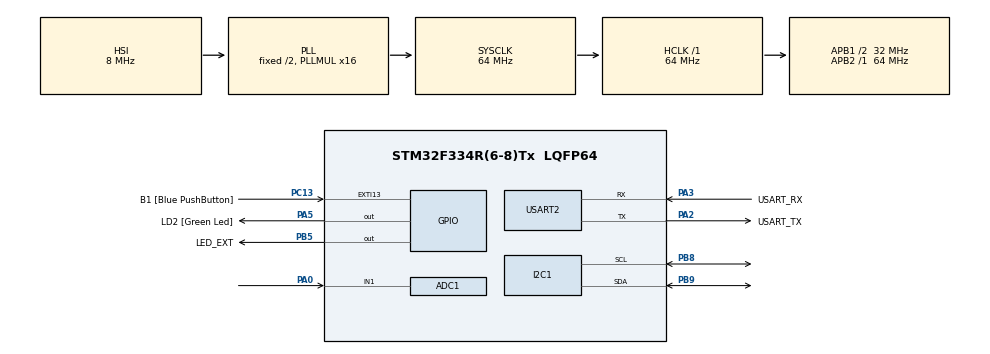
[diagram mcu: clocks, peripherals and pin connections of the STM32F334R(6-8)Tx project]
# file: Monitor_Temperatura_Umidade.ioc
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ADC1.Channel-0\#ChannelRegularConversion=ADC_CHANNEL_1
ADC1.NbrOfConversionFlag=1
ADC1.Offset-0\#ChannelRegularConversion=0
ADC1.OffsetNumber-0\#ChannelRegularConversion=ADC_OFFSET_NONE
ADC1.Rank-0\#ChannelRegularConversion=1
ADC1.SamplingTime-0\#ChannelRegularConversion=ADC_SAMPLETIME_1CYCLE_5
ADC1.SamplingTimeOPAMP-0\#ChannelRegularConversion=ADC_SAMPLETIME_61CYCLES_5
ADC1.SubFamily=STM32F334x8
ADC1.master=1
I2C1.Timing=0x00201D2B
Mcu.Family=STM32F3
Mcu.Name=STM32F334R(6-8)Tx
Mcu.Package=LQFP64
NVIC.PriorityGroup=NVIC_PRIORITYGROUP_0
NVIC.TIM6_DAC1_IRQn=true\:0\:0\:false\:false\:true\:true\:true\:true
PA0.Mode=IN1-Single-Ended
PA0.Signal=ADC1_IN1
PA13.GPIO_Label=TMS
PA13.Mode=Serial_Wire
PA13.Signal=SYS_JTMS-SWDIO
PA14.GPIO_Label=TCK
PA14.Mode=Serial_Wire
PA14.Signal=SYS_JTCK-SWCLK
PA2.GPIO_Label=USART_TX
PA2.Mode=Asynchronous
PA2.Signal=USART2_TX
PA3.GPIO_Label=USART_RX
PA3.Mode=Asynchronous
PA3.Signal=USART2_RX
PA5.GPIO_Label=LD2 [Green Led]
PA5.Signal=GPIO_Output
PB3.GPIO_Label=SWO
PB3.Signal=SYS_JTDO-TRACESWO
PB5.GPIO_Label=LED_EXT
PB5.Signal=GPIO_Output
PB8.GPIO_Pu=GPIO_PULLUP
PB8.Mode=I2C
PB8.Signal=I2C1_SCL
PB9.GPIO_Pu=GPIO_PULLUP
PB9.Mode=I2C
PB9.Signal=I2C1_SDA
PC13.GPIO_Label=B1 [Blue PushButton]
PC13.GPIO_ModeDefaultEXTI=GPIO_MODE_IT_FALLING
PC13.Signal=GPXTI13
PC14\ /\ OSC32_IN.Mode=LSE-External-Oscillator
PC14\ /\ OSC32_IN.Signal=RCC_OSC32_IN
PC15\ /\ OSC32_OUT.GPIO_Label=RCC_OSC32_OUT
PC15\ /\ OSC32_OUT.Mode=LSE-External-Oscillator
PC15\ /\ OSC32_OUT.Signal=RCC_OSC32_OUT
PF0\ /\ OSC_IN.Mode=HSE-External-Clock-Source
PF0\ /\ OSC_IN.Signal=RCC_OSC_IN
PF1\ /\ OSC_OUT.Signal=RCC_OSC_OUT
ProjectManager.HeapSize=0x200
ProjectManager.StackSize=0x400
ProjectManager.TargetToolchain=CMake
RCC.AHBFreq_Value=64000000
RCC.APB1CLKDivider=RCC_HCLK_DIV2
RCC.APB1Freq_Value=32000000
RCC.APB1TimFreq_Value=64000000
RCC.APB2Freq_Value=64000000
RCC.APB2TimFreq_Value=64000000
RCC.CortexFreq_Value=64000000
RCC.FLatency-AdvancedSettings=FLASH_LATENCY_2
RCC.HCLKFreq_Value=64000000
RCC.HSE_VALUE=8000000
RCC.HSI_VALUE=8000000
RCC.PLLMUL=RCC_PLL_MUL16
RCC.SYSCLKFreq_VALUE=64000000
RCC.SYSCLKSourceVirtual=RCC_SYSCLKSOURCE_PLLCLK
TIM6.Period=999
TIM6.Prescaler=63999
USART2.VirtualMode-Asynchronous=VM_ASYNC
VP_TIM6_VS_ClockSourceINT.Mode=Enable_Timer
board=NUCLEO-F334R8

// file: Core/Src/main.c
/* USER CODE BEGIN Header */
/**
  ******************************************************************************
  * @file           : main.c
  * @brief          : Main program body
  ******************************************************************************
  * @attention
  *
  * Copyright (c) 2026 STMicroelectronics.
  * All rights reserved.
  *
  * This software is licensed under terms that can be found in the LICENSE file
  * in the root directory of this software component.
  * If no LICENSE file comes with this software, it is provided AS-IS.
  *
  ******************************************************************************
  */
/* USER CODE END Header */
#include "main.h"

/* USER CODE BEGIN Includes */
  #include "hdc1080.h"
/* USER CODE END Includes */

/* USER CODE BEGIN PTD */
  typedef enum
{
    ESTADO_INICIALIZAR = 0,
    ESTADO_ESPERAR,
    ESTADO_LER_SENSOR,
    ESTADO_LER_ADC,
    ESTADO_VERIFICAR,
    ESTADO_ATUALIZAR_LED,
    ESTADO_ERRO

} Estado_t;
/* USER CODE END PTD */

ADC_HandleTypeDef hadc1;

I2C_HandleTypeDef hi2c1;

TIM_HandleTypeDef htim6;

UART_HandleTypeDef huart2;

/* USER CODE BEGIN PV */
HDC1080_t sensor;

Estado_t estado = ESTADO_INICIALIZAR;

volatile uint8_t flag_timer = 0;

float temperatura = 0.0f;
float umidade = 0.0f;

float limite_temperatura = 30.0f;

uint32_t valor_adc = 0;

HAL_StatusTypeDef status_sensor = HAL_ERROR;

uint8_t i2c_encontrado = 0;
uint8_t endereco_encontrado = 0;
/* USER CODE END PV */

void SystemClock_Config(void);
static void MX_GPIO_Init(void);
static void MX_USART2_UART_Init(void);
static void MX_ADC1_Init(void);
static void MX_I2C1_Init(void);
static void MX_TIM6_Init(void);

/* USER CODE BEGIN 0 */
  static float Ler_Limite_Temperatura(void)
{
    uint32_t adc;

    HAL_ADC_Start(&hadc1);

    if (HAL_ADC_PollForConversion(&hadc1, 100) != HAL_OK)
    {
        HAL_ADC_Stop(&hadc1);
        return limite_temperatura;
    }

    adc = HAL_ADC_GetValue(&hadc1);

    HAL_ADC_Stop(&hadc1);

    valor_adc = adc;

    /*
     * ADC:
     * 0    -> 20 °C
     * 4095 -> 40 °C
     */
    return 20.0f +
           (((float)adc / 4095.0f) * 20.0f);
}
/* USER CODE END 0 */

int main(void)
{

  /* MCU Configuration--------------------------------------------------------*/

  /* Reset of all peripherals, Initializes the Flash interface and the Systick. */
  HAL_Init();

  /* Configure the system clock */
  SystemClock_Config();

  /* Initialize all configured peripherals */
  MX_GPIO_Init();
  MX_USART2_UART_Init();
  MX_ADC1_Init();
  MX_I2C1_Init();
  MX_TIM6_Init();
  /* USER CODE BEGIN 2 */
  HAL_TIM_Base_Start_IT(&htim6);
  for (uint8_t endereco = 1; endereco < 128; endereco++)
{
    if (HAL_I2C_IsDeviceReady(&hi2c1,
                              endereco << 1,
                              2,
                              20) == HAL_OK)
    {
        endereco_encontrado = endereco;
        i2c_encontrado = 1;
        break;
    }
}
  /* USER CODE END 2 */

  /* Infinite loop */
while (1)
{

    /* USER CODE BEGIN 3 */

    switch (estado)
    {
        case ESTADO_INICIALIZAR:

            status_sensor = HDC1080_Init(&sensor, &hi2c1);

            if (status_sensor == HAL_OK)
            {
                flag_timer = 0;
                estado = ESTADO_ESPERAR;
            }
            else
            {
                estado = ESTADO_ERRO;
            }

            break;

        case ESTADO_ESPERAR:

            if (flag_timer)
            {
                flag_timer = 0;
                estado = ESTADO_LER_SENSOR;
            }

            break;

        case ESTADO_LER_SENSOR:

            status_sensor = HDC1080_LerDados(&sensor);

            if (status_sensor == HAL_OK)
            {
                temperatura = HDC1080_GetTemperatura(&sensor);
                umidade = HDC1080_GetUmidade(&sensor);

                estado = ESTADO_LER_ADC;
            }
            else
            {
                estado = ESTADO_ERRO;
            }

            break;

        case ESTADO_LER_ADC:

            limite_temperatura = Ler_Limite_Temperatura();

            estado = ESTADO_VERIFICAR;

            break;

        case ESTADO_VERIFICAR:

            estado = ESTADO_ATUALIZAR_LED;

            break;

case ESTADO_ATUALIZAR_LED:

    if (temperatura >= limite_temperatura)
    {
        /* LED da Nucleo */
        HAL_GPIO_WritePin(
            LD2_GPIO_Port,
            LD2_Pin,
            GPIO_PIN_SET
        );

        /* LED externo */
        HAL_GPIO_WritePin(
            LED_EXT_GPIO_Port,
            LED_EXT_Pin,
            GPIO_PIN_SET
        );
    }
    else
    {
        /* LED da Nucleo */
        HAL_GPIO_WritePin(
            LD2_GPIO_Port,
            LD2_Pin,
            GPIO_PIN_RESET
        );

        /* LED externo */
        HAL_GPIO_WritePin(
            LED_EXT_GPIO_Port,
            LED_EXT_Pin,
            GPIO_PIN_RESET
        );
    }

    estado = ESTADO_ESPERAR;
    break;

        case ESTADO_ERRO:

            HAL_GPIO_TogglePin(
                LD2_GPIO_Port,
                LD2_Pin
            );

            HAL_Delay(200);

            estado = ESTADO_INICIALIZAR;

            break;

        default:

            estado = ESTADO_INICIALIZAR;

            break;
    }

  }
  /* USER CODE END 3 */
}

void SystemClock_Config(void)
{
  RCC_OscInitTypeDef RCC_OscInitStruct = {0};
  RCC_ClkInitTypeDef RCC_ClkInitStruct = {0};
  RCC_PeriphCLKInitTypeDef PeriphClkInit = {0};

  /** Initializes the RCC Oscillators according to the specified parameters
  * in the RCC_OscInitTypeDef structure.
  */
  RCC_OscInitStruct.OscillatorType = RCC_OSCILLATORTYPE_HSI;
  RCC_OscInitStruct.HSIState = RCC_HSI_ON;
  RCC_OscInitStruct.HSICalibrationValue = RCC_HSICALIBRATION_DEFAULT;
  RCC_OscInitStruct.PLL.PLLState = RCC_PLL_ON;
  RCC_OscInitStruct.PLL.PLLSource = RCC_PLLSOURCE_HSI;
  RCC_OscInitStruct.PLL.PLLMUL = RCC_PLL_MUL16;
  if (HAL_RCC_OscConfig(&RCC_OscInitStruct) != HAL_OK)
  {
    Error_Handler();
  }

  /** Initializes the CPU, AHB and APB buses clocks
  */
  RCC_ClkInitStruct.ClockType = RCC_CLOCKTYPE_HCLK|RCC_CLOCKTYPE_SYSCLK
                              |RCC_CLOCKTYPE_PCLK1|RCC_CLOCKTYPE_PCLK2;
  RCC_ClkInitStruct.SYSCLKSource = RCC_SYSCLKSOURCE_PLLCLK;
  RCC_ClkInitStruct.AHBCLKDivider = RCC_SYSCLK_DIV1;
  RCC_ClkInitStruct.APB1CLKDivider = RCC_HCLK_DIV2;
  RCC_ClkInitStruct.APB2CLKDivider = RCC_HCLK_DIV1;

  if (HAL_RCC_ClockConfig(&RCC_ClkInitStruct, FLASH_LATENCY_2) != HAL_OK)
  {
    Error_Handler();
  }
  PeriphClkInit.PeriphClockSelection = RCC_PERIPHCLK_I2C1|RCC_PERIPHCLK_ADC12;
  PeriphClkInit.Adc12ClockSelection = RCC_ADC12PLLCLK_DIV1;
  PeriphClkInit.I2c1ClockSelection = RCC_I2C1CLKSOURCE_HSI;
  if (HAL_RCCEx_PeriphCLKConfig(&PeriphClkInit) != HAL_OK)
  {
    Error_Handler();
  }
}

static void MX_ADC1_Init(void)
{

  ADC_MultiModeTypeDef multimode = {0};
  ADC_ChannelConfTypeDef sConfig = {0};

  /** Common config
  */
  hadc1.Instance = ADC1;
  hadc1.Init.ClockPrescaler = ADC_CLOCK_ASYNC_DIV1;
  hadc1.Init.Resolution = ADC_RESOLUTION_12B;
  hadc1.Init.ScanConvMode = ADC_SCAN_DISABLE;
  hadc1.Init.ContinuousConvMode = DISABLE;
  hadc1.Init.DiscontinuousConvMode = DISABLE;
  hadc1.Init.ExternalTrigConvEdge = ADC_EXTERNALTRIGCONVEDGE_NONE;
  hadc1.Init.ExternalTrigConv = ADC_SOFTWARE_START;
  hadc1.Init.DataAlign = ADC_DATAALIGN_RIGHT;
  hadc1.Init.NbrOfConversion = 1;
  hadc1.Init.DMAContinuousRequests = DISABLE;
  hadc1.Init.EOCSelection = ADC_EOC_SINGLE_CONV;
  hadc1.Init.LowPowerAutoWait = DISABLE;
  hadc1.Init.Overrun = ADC_OVR_DATA_OVERWRITTEN;
  if (HAL_ADC_Init(&hadc1) != HAL_OK)
  {
    Error_Handler();
  }

  /** Configure the ADC multi-mode
  */
  multimode.Mode = ADC_MODE_INDEPENDENT;
  if (HAL_ADCEx_MultiModeConfigChannel(&hadc1, &multimode) != HAL_OK)
  {
    Error_Handler();
  }

  /** Configure Regular Channel
  */
  sConfig.Channel = ADC_CHANNEL_1;
  sConfig.Rank = ADC_REGULAR_RANK_1;
  sConfig.SingleDiff = ADC_SINGLE_ENDED;
  sConfig.SamplingTime = ADC_SAMPLETIME_1CYCLE_5;
  sConfig.OffsetNumber = ADC_OFFSET_NONE;
  sConfig.Offset = 0;
  if (HAL_ADC_ConfigChannel(&hadc1, &sConfig) != HAL_OK)
  {
    Error_Handler();
  }

}

static void MX_I2C1_Init(void)
{

  hi2c1.Instance = I2C1;
  hi2c1.Init.Timing = 0x00201D2B;
  hi2c1.Init.OwnAddress1 = 0;
  hi2c1.Init.AddressingMode = I2C_ADDRESSINGMODE_7BIT;
  hi2c1.Init.DualAddressMode = I2C_DUALADDRESS_DISABLE;
  hi2c1.Init.OwnAddress2 = 0;
  hi2c1.Init.OwnAddress2Masks = I2C_OA2_NOMASK;
  hi2c1.Init.GeneralCallMode = I2C_GENERALCALL_DISABLE;
  hi2c1.Init.NoStretchMode = I2C_NOSTRETCH_DISABLE;
  if (HAL_I2C_Init(&hi2c1) != HAL_OK)
  {
    Error_Handler();
  }

  /** Configure Analogue filter
  */
  if (HAL_I2CEx_ConfigAnalogFilter(&hi2c1, I2C_ANALOGFILTER_ENABLE) != HAL_OK)
  {
    Error_Handler();
  }

  /** Configure Digital filter
  */
  if (HAL_I2CEx_ConfigDigitalFilter(&hi2c1, 0) != HAL_OK)
  {
    Error_Handler();
  }

}

static void MX_TIM6_Init(void)
{

  TIM_MasterConfigTypeDef sMasterConfig = {0};

  htim6.Instance = TIM6;
  htim6.Init.Prescaler = 63999;
  htim6.Init.CounterMode = TIM_COUNTERMODE_UP;
  htim6.Init.Period = 999;
  htim6.Init.AutoReloadPreload = TIM_AUTORELOAD_PRELOAD_DISABLE;
  if (HAL_TIM_Base_Init(&htim6) != HAL_OK)
  {
    Error_Handler();
  }
  sMasterConfig.MasterOutputTrigger = TIM_TRGO_RESET;
  sMasterConfig.MasterSlaveMode = TIM_MASTERSLAVEMODE_DISABLE;
  if (HAL_TIMEx_MasterConfigSynchronization(&htim6, &sMasterConfig) != HAL_OK)
  {
    Error_Handler();
  }

}

static void MX_USART2_UART_Init(void)
{

  huart2.Instance = USART2;
  huart2.Init.BaudRate = 38400;
  huart2.Init.WordLength = UART_WORDLENGTH_8B;
  huart2.Init.StopBits = UART_STOPBITS_1;
  huart2.Init.Parity = UART_PARITY_NONE;
  huart2.Init.Mode = UART_MODE_TX_RX;
  huart2.Init.HwFlowCtl = UART_HWCONTROL_NONE;
  huart2.Init.OverSampling = UART_OVERSAMPLING_16;
  huart2.Init.OneBitSampling = UART_ONE_BIT_SAMPLE_DISABLE;
  huart2.AdvancedInit.AdvFeatureInit = UART_ADVFEATURE_NO_INIT;
  if (HAL_UART_Init(&huart2) != HAL_OK)
  {
    Error_Handler();
  }

}

static void MX_GPIO_Init(void)
{
  GPIO_InitTypeDef GPIO_InitStruct = {0};

  /* GPIO Ports Clock Enable */
  __HAL_RCC_GPIOC_CLK_ENABLE();
  __HAL_RCC_GPIOF_CLK_ENABLE();
  __HAL_RCC_GPIOA_CLK_ENABLE();
  __HAL_RCC_GPIOB_CLK_ENABLE();

  /*Configure GPIO pin Output Level */
  HAL_GPIO_WritePin(LD2_GPIO_Port, LD2_Pin, GPIO_PIN_RESET);

  /*Configure GPIO pin Output Level */
  HAL_GPIO_WritePin(LED_EXT_GPIO_Port, LED_EXT_Pin, GPIO_PIN_RESET);

  /*Configure GPIO pin : B1_Pin */
  GPIO_InitStruct.Pin = B1_Pin;
  GPIO_InitStruct.Mode = GPIO_MODE_IT_FALLING;
  GPIO_InitStruct.Pull = GPIO_NOPULL;
  HAL_GPIO_Init(B1_GPIO_Port, &GPIO_InitStruct);

  /*Configure GPIO pin : LD2_Pin */
  GPIO_InitStruct.Pin = LD2_Pin;
  GPIO_InitStruct.Mode = GPIO_MODE_OUTPUT_PP;
  GPIO_InitStruct.Pull = GPIO_NOPULL;
  GPIO_InitStruct.Speed = GPIO_SPEED_FREQ_LOW;
  HAL_GPIO_Init(LD2_GPIO_Port, &GPIO_InitStruct);

  /*Configure GPIO pin : LED_EXT_Pin */
  GPIO_InitStruct.Pin = LED_EXT_Pin;
  GPIO_InitStruct.Mode = GPIO_MODE_OUTPUT_PP;
  GPIO_InitStruct.Pull = GPIO_NOPULL;
  GPIO_InitStruct.Speed = GPIO_SPEED_FREQ_LOW;
  HAL_GPIO_Init(LED_EXT_GPIO_Port, &GPIO_InitStruct);

}

/* USER CODE BEGIN 4 */
  void HAL_TIM_PeriodElapsedCallback(
    TIM_HandleTypeDef *htim)
{
    if (htim->Instance == TIM6)
    {
        flag_timer = 1;
    }
}
/* USER CODE END 4 */

void Error_Handler(void)
{
  __disable_irq();
  while (1)
  {
  }
}
